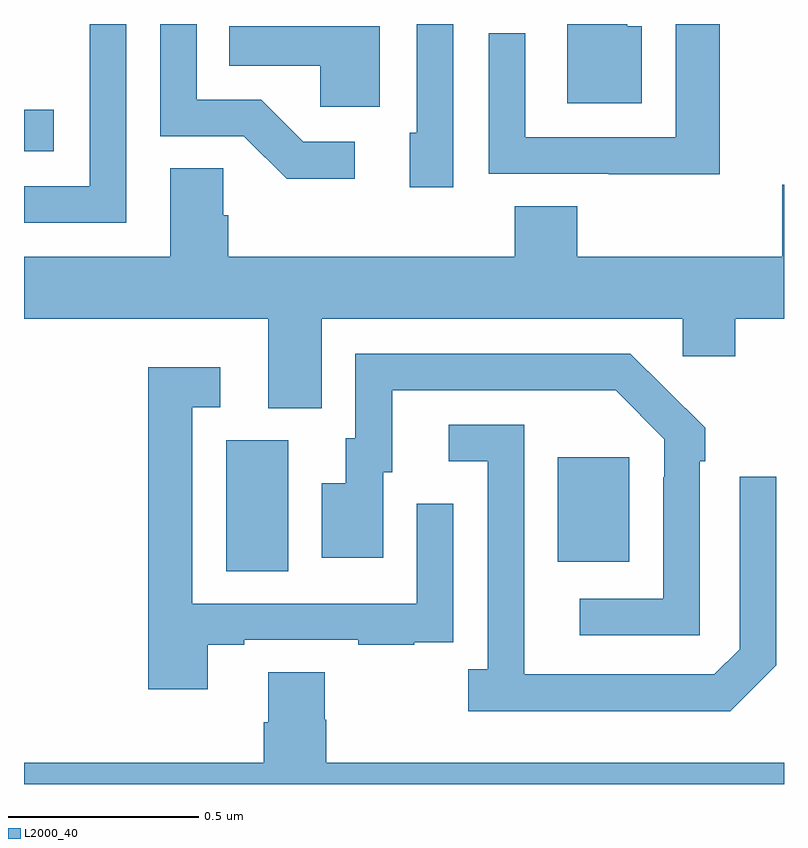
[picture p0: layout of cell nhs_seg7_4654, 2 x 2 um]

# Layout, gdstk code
import gdstk
lib = gdstk.Library(unit=1e-6, precision=1e-09)
def R(c, l, rs):  # rectangles x0, y0, x1, y1
    for r in rs: c.add(gdstk.rectangle(r[:2], r[2:], *l))
def P(c, l, *ps):  # polygons
    for p in ps: c.add(gdstk.Polygon(p, *l))
L2000_40 = (2000, 40)

nhs_seg7_4654 = lib.new_cell('nhs_seg7_4654')
R(nhs_seg7_4654, L2000_40, [(175.532,1058.56,175.696,1058.904), (176.405,1058.585,176.593,1058.86), (175,1059.665,175.078,1059.775)])
P(nhs_seg7_4654, L2000_40, [(176.626,1059.994),(176.587,1059.994),(176.587,1060),(176.429,1060),(176.429,1059.791),(176.626,1059.791)],
  [(176.831,1060),(176.715,1060),(176.715,1059.702),(176.319,1059.702),(176.319,1059.976),(176.223,1059.976),(176.223,1059.606),(176.539,1059.606),(176.539,1059.605),(176.831,1059.605)],
  [(175.269,1060),(175.173,1060),(175.173,1059.573),(175,1059.573),(175,1059.477),(175.269,1059.477)],
  [(176.13,1060),(176.034,1060),(176.034,1059.714),(176.015,1059.714),(176.015,1059.57),(176.13,1059.57)],
  [(175.87,1059.69),(175.735,1059.69),(175.624,1059.801),(175.455,1059.801),(175.455,1060),(175.359,1060),(175.359,1059.705),(175.578,1059.705),(175.691,1059.593),(175.87,1059.593)],
  [(175.936,1059.994),(175.54,1059.994),(175.54,1059.89),(175.779,1059.89),(175.779,1059.782),(175.936,1059.782)],
  [(175.783,1059.224),(176.733,1059.224),(176.733,1059.126),(176.872,1059.126),(176.872,1059.224),(177,1059.224),(177,1059.577),(176.996,1059.577),(176.996,1059.388),(176.456,1059.388),(176.456,1059.521),(176.291,1059.521),(176.291,1059.388),(175.538,1059.388),(175.538,1059.497),(175.524,1059.497),(175.524,1059.62),(175.385,1059.62),(175.385,1059.388),(175,1059.388),(175,1059.224),(175.643,1059.224),(175.643,1058.989),(175.783,1058.989)],
  [(176.778,1058.849),(176.793,1058.849),(176.793,1058.937),(176.688,1059.042),(176.687,1059.041),(176.596,1059.132),(175.872,1059.132),(175.872,1058.91),(175.847,1058.91),(175.847,1058.791),(175.784,1058.791),(175.784,1058.595),(175.945,1058.595),(175.945,1058.82),(175.969,1058.82),(175.969,1059.036),(176.557,1059.036),(176.685,1058.907),(176.685,1058.807),(176.682,1058.807),(176.682,1058.487),(176.463,1058.487),(176.463,1058.391),(176.778,1058.391)],
  [(175.483,1058.367),(175.579,1058.367),(175.579,1058.379),(175.879,1058.379),(175.879,1058.367),(176.027,1058.367),(176.027,1058.373),(176.129,1058.373),(176.129,1058.482),(176.13,1058.482),(176.13,1058.737),(176.034,1058.737),(176.034,1058.475),(175.443,1058.475),(175.443,1058.991),(175.516,1058.991),(175.516,1059.097),(175.327,1059.097),(175.327,1058.25),(175.483,1058.25)],
  [(176.979,1058.313),(176.979,1058.809),(176.883,1058.809),(176.883,1058.355),(176.817,1058.289),(176.317,1058.289),(176.317,1058.489),(176.316,1058.489),(176.316,1058.946),(176.118,1058.946),(176.118,1058.85),(176.22,1058.85),(176.22,1058.302),(176.169,1058.302),(176.169,1058.192),(176.858,1058.192)],
  [(177,1058.056),(175.796,1058.056),(175.796,1058.169),(175.791,1058.169),(175.791,1058.294),(175.643,1058.294),(175.643,1058.162),(175.631,1058.162),(175.631,1058.056),(175,1058.056),(175,1058),(177,1058)])

lib.write_gds('nhs_seg7_4654.gds')
